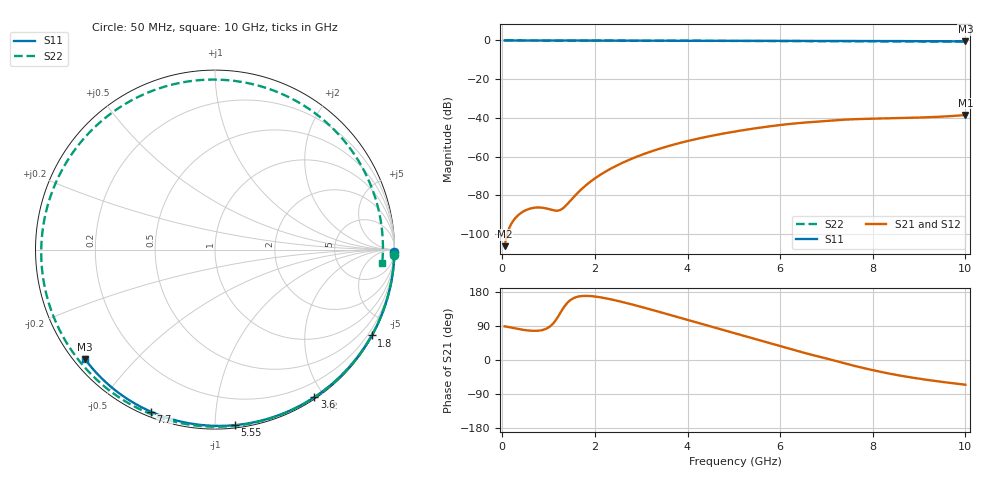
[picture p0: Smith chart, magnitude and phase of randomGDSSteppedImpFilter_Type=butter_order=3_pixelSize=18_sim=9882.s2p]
! freq	dB(S11)	phase(S11)	dB(S12)	phase(S12)
!  dB(S21)	phase(S21)	dB(S22)	phase(S22)
!S-par simulation data
#  GHz  S  DB  R 50
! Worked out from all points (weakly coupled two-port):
!   200 points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, 50 MHz to 10 GHz, reference 50 ohm
!   highest |S21| = -38.50 dB at 10 GHz (marker M1); lowest = -106.2 dB at 50 MHz (marker M2)
!   lowest |S11| = -0.5 dB at 10 GHz (marker M3), VSWR 36.82, Z = 1.54 - j18.3 ohm
!   |S11| at or under -10 dB: nowhere
!   |S22| runs from -0.6 to 0.0 dB; largest |S21 - S12| = 0
!   S11 on the Smith chart (normalised r, x): 50 MHz: open; 1.8 GHz: 0.03, -3.91; 3.6 GHz: 0.02, -1.88; 5.55 GHz: 0.02, -1.12; 7.7 GHz: 0.02, -0.68; 10 GHz: 0.03, -0.37
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0.05  -0.00 -0.8  -106.21 88.9  -106.21 88.9  -0.00 -1.7
0.75  -0.01 -12.1  -86.24 77.1  -86.24 77.1  -0.03 -25.7
1.55  -0.03 -24.8  -80.64 163.8  -80.64 163.8  -0.07 -52.5
1.75  -0.04 -27.9  -75.93 169.0  -75.93 169.0  -0.07 -59.1
1.8  -0.04 -28.7  -74.89 169.2  -74.89 169.2  -0.08 -60.7
2.1  -0.04 -33.4  -69.61 165.7  -69.61 165.7  -0.09 -70.4
2.5  -0.05 -39.5  -64.24 155.7  -64.24 155.7  -0.11 -83.3
2.95  -0.06 -46.3  -59.58 141.8  -59.58 141.8  -0.12 -97.5
3.4  -0.07 -53.1  -55.86 126.6  -55.86 126.6  -0.14 -111.6
3.6  -0.08 -56.0  -54.44 119.7  -54.44 119.7  -0.15 -117.8
4.35  -0.10 -66.9  -50.05 93.6  -50.05 93.6  -0.20 -141.3
5.05  -0.12 -76.7  -46.91 69.5  -46.91 69.5  -0.24 -163.7
5.55  -0.14 -83.5  -45.06 52.4  -45.06 52.4  -0.28 179.6
6.15  -0.16 -91.6  -43.25 31.7  -43.25 31.7  -0.33 158.5
6.7  -0.19 -98.8  -42.10 13.1  -42.10 13.1  -0.38 137.8
7.25  -0.22 -105.8  -41.08 -4.1  -41.08 -4.1  -0.43 115.6
7.7  -0.25 -111.5  -40.58 -18.3  -40.58 -18.3  -0.46 96.5
8.35  -0.31 -119.6  -40.20 -35.7  -40.20 -35.7  -0.50 67.6
8.75  -0.34 -124.5  -39.98 -44.5  -39.98 -44.5  -0.52 49.6
9.2  -0.38 -130.0  -39.65 -52.9  -39.65 -52.9  -0.54 29.4
9.6  -0.43 -134.9  -39.18 -59.4  -39.18 -59.4  -0.56 12.1
10  -0.47 -139.8  -38.50 -65.3  -38.50 -65.3  -0.59 -4.5
